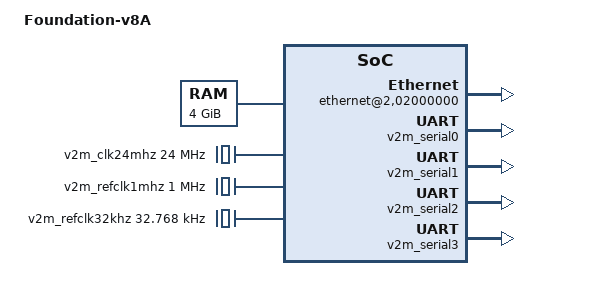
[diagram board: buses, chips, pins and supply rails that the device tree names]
/*
 * ARM Ltd.
 *
 * ARMv8 Foundation model DTS
 */

/dts-v1/;

/memreserve/ 0x80000000 0x00010000;

/ {
	model = "Foundation-v8A";
	compatible = "arm,foundation-aarch64", "arm,vexpress";
	interrupt-parent = <&gic>;
	#address-cells = <2>;
	#size-cells = <2>;

	chosen { };

	aliases {
		serial0 = &v2m_serial0;
		serial1 = &v2m_serial1;
		serial2 = &v2m_serial2;
		serial3 = &v2m_serial3;
	};

	cpus {
		#address-cells = <2>;
		#size-cells = <0>;

		cpu@0 {
			device_type = "cpu";
			compatible = "arm,armv8";
			reg = <0x0 0x0>;
			enable-method = "spin-table";
			cpu-release-addr = <0x0 0x8000fff8>;
		};
		cpu@1 {
			device_type = "cpu";
			compatible = "arm,armv8";
			reg = <0x0 0x1>;
			enable-method = "spin-table";
			cpu-release-addr = <0x0 0x8000fff8>;
		};
		cpu@2 {
			device_type = "cpu";
			compatible = "arm,armv8";
			reg = <0x0 0x2>;
			enable-method = "spin-table";
			cpu-release-addr = <0x0 0x8000fff8>;
		};
		cpu@3 {
			device_type = "cpu";
			compatible = "arm,armv8";
			reg = <0x0 0x3>;
			enable-method = "spin-table";
			cpu-release-addr = <0x0 0x8000fff8>;
		};
	};

	memory@80000000 {
		device_type = "memory";
		reg = <0x00000000 0x80000000 0 0x80000000>,
		      <0x00000008 0x80000000 0 0x80000000>;
	};

	gic: interrupt-controller@2c001000 {
		compatible = "arm,cortex-a15-gic", "arm,cortex-a9-gic";
		#interrupt-cells = <3>;
		#address-cells = <0>;
		interrupt-controller;
		reg = <0x0 0x2c001000 0 0x1000>,
		      <0x0 0x2c002000 0 0x1000>,
		      <0x0 0x2c004000 0 0x2000>,
		      <0x0 0x2c006000 0 0x2000>;
		interrupts = <1 9 0xf04>;
	};

	timer {
		compatible = "arm,armv8-timer";
		interrupts = <1 13 0xff01>,
			     <1 14 0xff01>,
			     <1 11 0xff01>,
			     <1 10 0xff01>;
		clock-frequency = <100000000>;
	};

	pmu {
		compatible = "arm,armv8-pmuv3";
		interrupts = <0 60 4>,
			     <0 61 4>,
			     <0 62 4>,
			     <0 63 4>;
	};

	smb {
		compatible = "arm,vexpress,v2m-p1", "simple-bus";
		arm,v2m-memory-map = "rs1";
		#address-cells = <2>; /* SMB chipselect number and offset */
		#size-cells = <1>;

		ranges = <0 0 0 0x08000000 0x04000000>,
			 <1 0 0 0x14000000 0x04000000>,
			 <2 0 0 0x18000000 0x04000000>,
			 <3 0 0 0x1c000000 0x04000000>,
			 <4 0 0 0x0c000000 0x04000000>,
			 <5 0 0 0x10000000 0x04000000>;

		#interrupt-cells = <1>;
		interrupt-map-mask = <0 0 63>;
		interrupt-map = <0 0  0 &gic 0  0 4>,
				<0 0  1 &gic 0  1 4>,
				<0 0  2 &gic 0  2 4>,
				<0 0  3 &gic 0  3 4>,
				<0 0  4 &gic 0  4 4>,
				<0 0  5 &gic 0  5 4>,
				<0 0  6 &gic 0  6 4>,
				<0 0  7 &gic 0  7 4>,
				<0 0  8 &gic 0  8 4>,
				<0 0  9 &gic 0  9 4>,
				<0 0 10 &gic 0 10 4>,
				<0 0 11 &gic 0 11 4>,
				<0 0 12 &gic 0 12 4>,
				<0 0 13 &gic 0 13 4>,
				<0 0 14 &gic 0 14 4>,
				<0 0 15 &gic 0 15 4>,
				<0 0 16 &gic 0 16 4>,
				<0 0 17 &gic 0 17 4>,
				<0 0 18 &gic 0 18 4>,
				<0 0 19 &gic 0 19 4>,
				<0 0 20 &gic 0 20 4>,
				<0 0 21 &gic 0 21 4>,
				<0 0 22 &gic 0 22 4>,
				<0 0 23 &gic 0 23 4>,
				<0 0 24 &gic 0 24 4>,
				<0 0 25 &gic 0 25 4>,
				<0 0 26 &gic 0 26 4>,
				<0 0 27 &gic 0 27 4>,
				<0 0 28 &gic 0 28 4>,
				<0 0 29 &gic 0 29 4>,
				<0 0 30 &gic 0 30 4>,
				<0 0 31 &gic 0 31 4>,
				<0 0 32 &gic 0 32 4>,
				<0 0 33 &gic 0 33 4>,
				<0 0 34 &gic 0 34 4>,
				<0 0 35 &gic 0 35 4>,
				<0 0 36 &gic 0 36 4>,
				<0 0 37 &gic 0 37 4>,
				<0 0 38 &gic 0 38 4>,
				<0 0 39 &gic 0 39 4>,
				<0 0 40 &gic 0 40 4>,
				<0 0 41 &gic 0 41 4>,
				<0 0 42 &gic 0 42 4>;

		ethernet@2,02000000 {
			compatible = "smsc,lan91c111";
			reg = <2 0x02000000 0x10000>;
			interrupts = <15>;
		};

		v2m_clk24mhz: clk24mhz {
			compatible = "fixed-clock";
			#clock-cells = <0>;
			clock-frequency = <24000000>;
			clock-output-names = "v2m:clk24mhz";
		};

		v2m_refclk1mhz: refclk1mhz {
			compatible = "fixed-clock";
			#clock-cells = <0>;
			clock-frequency = <1000000>;
			clock-output-names = "v2m:refclk1mhz";
		};

		v2m_refclk32khz: refclk32khz {
			compatible = "fixed-clock";
			#clock-cells = <0>;
			clock-frequency = <32768>;
			clock-output-names = "v2m:refclk32khz";
		};

		iofpga@3,00000000 {
			compatible = "arm,amba-bus", "simple-bus";
			#address-cells = <1>;
			#size-cells = <1>;
			ranges = <0 3 0 0x200000>;

			v2m_sysreg: sysreg@010000 {
				compatible = "arm,vexpress-sysreg";
				reg = <0x010000 0x1000>;
			};

			v2m_serial0: uart@090000 {
				compatible = "arm,pl011", "arm,primecell";
				reg = <0x090000 0x1000>;
				interrupts = <5>;
				clocks = <&v2m_clk24mhz>, <&v2m_clk24mhz>;
				clock-names = "uartclk", "apb_pclk";
			};

			v2m_serial1: uart@0a0000 {
				compatible = "arm,pl011", "arm,primecell";
				reg = <0x0a0000 0x1000>;
				interrupts = <6>;
				clocks = <&v2m_clk24mhz>, <&v2m_clk24mhz>;
				clock-names = "uartclk", "apb_pclk";
			};

			v2m_serial2: uart@0b0000 {
				compatible = "arm,pl011", "arm,primecell";
				reg = <0x0b0000 0x1000>;
				interrupts = <7>;
				clocks = <&v2m_clk24mhz>, <&v2m_clk24mhz>;
				clock-names = "uartclk", "apb_pclk";
			};

			v2m_serial3: uart@0c0000 {
				compatible = "arm,pl011", "arm,primecell";
				reg = <0x0c0000 0x1000>;
				interrupts = <8>;
				clocks = <&v2m_clk24mhz>, <&v2m_clk24mhz>;
				clock-names = "uartclk", "apb_pclk";
			};

			virtio_block@0130000 {
				compatible = "virtio,mmio";
				reg = <0x130000 0x200>;
				interrupts = <42>;
			};
		};
	};
};
